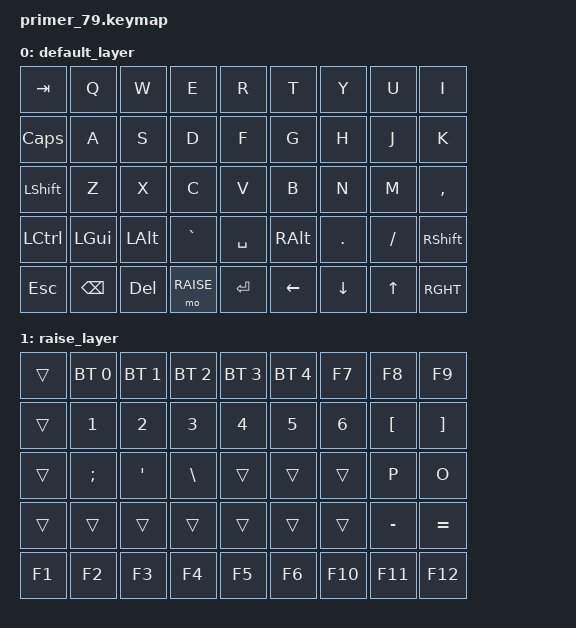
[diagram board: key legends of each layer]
#include <behaviors.dtsi>
#include <dt-bindings/zmk/keys.h>
#include <dt-bindings/zmk/bt.h>

#define DEFAULT 0
#define RAISE 1

/ {
    keymap {
        compatible = "zmk,keymap";

        default_layer {
            bindings = <
            &kp TAB      &kp Q        &kp W        &kp E        &kp R        &kp T        &kp Y        &kp U        &kp I
            &kp CAPS     &kp A        &kp S        &kp D        &kp F        &kp G        &kp H        &kp J        &kp K
            &kp LSHFT    &kp Z        &kp X        &kp C        &kp V        &kp B        &kp N        &kp M        &kp COMMA
            &kp LCTRL    &kp LGUI     &kp LALT     &kp GRAVE    &kp SPACE    &kp RALT     &kp DOT      &kp FSLH     &kp RSHFT
            &kp ESC      &kp BSPC     &kp DEL      &mo RAISE    &kp RET      &kp LEFT     &kp DOWN     &kp UP       &kp RGHT
            >;
        };

        raise_layer {
            bindings = <
            &trans       &bt BT_SEL 0 &bt BT_SEL 1 &bt BT_SEL 2 &bt BT_SEL 3 &bt BT_SEL 4 &kp F7       &kp F8       &kp F9
            &trans       &kp N1       &kp N2       &kp N3       &kp N4       &kp N5       &kp N6       &kp LBKT     &kp RBKT
            &trans       &kp SCLN     &kp QUOT     &kp BSLH     &trans       &trans       &trans       &kp P        &kp O
            &trans       &trans       &trans       &trans       &trans       &trans       &trans       &kp MINUS    &kp EQUAL
            &kp F1       &kp F2       &kp F3       &kp F4       &kp F5       &kp F6       &kp F10      &kp F11      &kp F12
            >;
        };
    };
};

